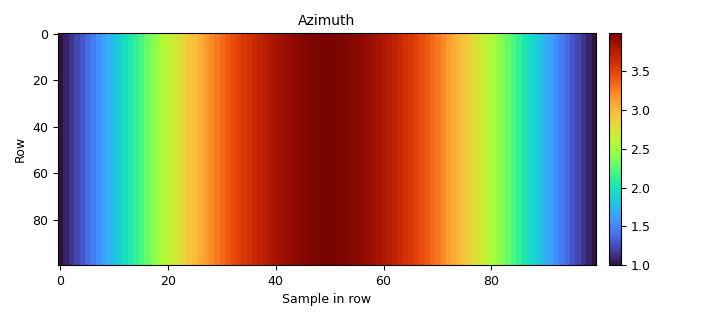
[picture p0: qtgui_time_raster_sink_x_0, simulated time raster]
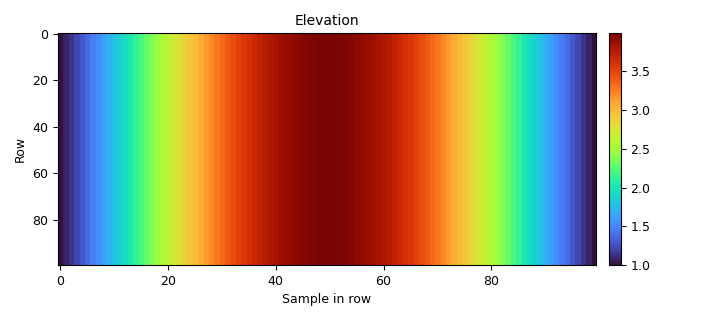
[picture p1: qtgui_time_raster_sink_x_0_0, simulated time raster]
options:
  parameters:
    author: citizenrich
    generate_options: qt_gui
    id: twodimension_simulation
    output_language: python
    realtime_scheduling: '1'
    title: twodimension_simulation
  states: {}

blocks:
- name: angle_radiansStartB
  id: variable
  parameters:
    value: (math.pi/180) * degreesTXB
  states: {}
- name: angle_radiansStartL
  id: variable
  parameters:
    value: (math.pi/180) * degreesTXL
  states: {}
- name: angle_radiansStartR
  id: variable
  parameters:
    value: (math.pi/180) * degreesTXR
  states: {}
- name: angle_radiansStartT
  id: variable
  parameters:
    value: (math.pi/180) * degreesTXT
  states: {}
- name: columns
  id: variable
  parameters:
    value: '100'
  states: {}
- name: degreesTXB
  id: variable_qtgui_range
  parameters:
    orient: Qt.Horizontal
    start: '0'
    step: '5'
    stop: maxtheta
    value: '0'
  states: {}
- name: degreesTXL
  id: variable_qtgui_range
  parameters:
    orient: Qt.Horizontal
    start: '0'
    step: '5'
    stop: maxtheta
    value: '0'
  states: {}
- name: degreesTXR
  id: variable_qtgui_range
  parameters:
    orient: Qt.Horizontal
    start: '0'
    step: '5'
    stop: maxtheta
    value: '0'
  states: {}
- name: degreesTXT
  id: variable_qtgui_range
  parameters:
    orient: Qt.Horizontal
    start: '0'
    step: '5'
    stop: maxtheta
    value: '0'
  states: {}
- name: displayscale
  id: variable
  parameters:
    value: '8'
  states: {}
- name: keep
  id: variable
  parameters:
    value: '32'
  states: {}
- name: left
  id: variable
  parameters:
    value: np.pad(shiftarrL, (0, int(columns/2)), 'constant')
  states: {}
- name: maxtheta
  id: variable
  parameters:
    value: '120'
  states: {}
- name: right
  id: variable
  parameters:
    value: np.flip(left, axis=0)
  states: {}
- name: samp_rate
  id: variable
  parameters:
    value: '32000'
  states: {}
- name: scale
  id: variable_qtgui_range
  parameters:
    orient: Qt.Horizontal
    start: '0'
    step: '5'
    stop: '100'
    value: '15'
  states: {}
- name: shiftarrL
  id: variable
  parameters:
    value: np.radians(np.linspace(start=maxtheta, stop=0, num=int(columns/2), endpoint=False))
  states: {}
- name: variable_qtgui_label_0
  id: variable_qtgui_label
  parameters:
    gui_hint: tab@1
    label: Right
    type: raw
    value: right
  states: {}
- name: variable_qtgui_label_0_0
  id: variable_qtgui_label
  parameters:
    gui_hint: tab@1
    label: Left
    type: raw
    value: left
  states: {}
- name: analog_sig_source_x_0_0
  id: analog_sig_source_x
  parameters:
    amp: '1'
    freq: '400'
    offset: '0'
    phase: '0'
    samp_rate: samp_rate
    type: complex
    waveform: analog.GR_COS_WAVE
  states: {}
- name: blocks_add_xx_0
  id: blocks_add_xx
  parameters:
    type: complex
  states: {}
- name: blocks_add_xx_0_0
  id: blocks_add_xx
  parameters:
    type: complex
  states: {}
- name: blocks_add_xx_1
  id: blocks_add_xx
  parameters:
    type: complex
  states: {}
- name: blocks_complex_to_mag_squared_0
  id: blocks_complex_to_mag_squared
  parameters: {}
  states: {}
- name: blocks_complex_to_mag_squared_0_0
  id: blocks_complex_to_mag_squared
  parameters: {}
  states: {}
- name: blocks_complex_to_mag_squared_0_1_0
  id: blocks_complex_to_mag_squared
  parameters: {}
  states: {}
- name: blocks_complex_to_magphase_0_0_0
  id: blocks_complex_to_magphase
  parameters: {}
  states: {}
- name: blocks_complex_to_magphase_0_0_0_0
  id: blocks_complex_to_magphase
  parameters: {}
  states: {}
- name: blocks_complex_to_magphase_0_0_0_0_0
  id: blocks_complex_to_magphase
  parameters: {}
  states: {}
- name: blocks_complex_to_magphase_0_0_0_1
  id: blocks_complex_to_magphase
  parameters: {}
  states: {}
- name: blocks_float_to_short_0_1_0
  id: blocks_float_to_short
  parameters:
    scale: scale
  states: {}
- name: blocks_keep_one_in_n_0
  id: blocks_keep_one_in_n
  parameters:
    n: keep
    type: complex
  states: {}
- name: blocks_keep_one_in_n_0_0
  id: blocks_keep_one_in_n
  parameters:
    n: keep
    type: complex
  states: {}
- name: blocks_keep_one_in_n_0_1
  id: blocks_keep_one_in_n
  parameters:
    n: keep
    type: complex
  states: {}
- name: blocks_keep_one_in_n_0_2
  id: blocks_keep_one_in_n
  parameters:
    n: keep
    type: complex
  states: {}
- name: blocks_magphase_to_complex_0_0_0_0
  id: blocks_magphase_to_complex
  parameters: {}
  states: {}
- name: blocks_magphase_to_complex_0_0_0_0_0
  id: blocks_magphase_to_complex
  parameters: {}
  states: {}
- name: blocks_magphase_to_complex_0_0_0_0_0_0
  id: blocks_magphase_to_complex
  parameters: {}
  states: {}
- name: blocks_magphase_to_complex_0_0_0_0_1
  id: blocks_magphase_to_complex
  parameters: {}
  states: {}
- name: blocks_multiply_const_vxx_0_0_0_0
  id: blocks_multiply_const_vxx
  parameters:
    comment: left channel - simulate tx phase diff
    const: complex(math.cos(angle_radiansStartL),math.sin(angle_radiansStartL))
    type: complex
  states: {}
- name: blocks_multiply_const_vxx_0_0_0_0_0
  id: blocks_multiply_const_vxx
  parameters:
    comment: bottom channel - simulate tx phase diff
    const: complex(math.cos(angle_radiansStartB),math.sin(angle_radiansStartB))
    type: complex
  states: {}
- name: blocks_multiply_const_vxx_0_0_1
  id: blocks_multiply_const_vxx
  parameters:
    comment: right channel - simulate tx phase diff
    const: complex(math.cos(angle_radiansStartR),math.sin(angle_radiansStartR))
    type: complex
  states: {}
- name: blocks_multiply_const_vxx_0_0_1_0
  id: blocks_multiply_const_vxx
  parameters:
    comment: top channel - simulate tx phase diff
    const: complex(math.cos(angle_radiansStartT),math.sin(angle_radiansStartT))
    type: complex
  states: {}
- name: blocks_repeat_0
  id: blocks_repeat
  parameters:
    interp: columns
    type: complex
  states: {}
- name: blocks_repeat_0_0
  id: blocks_repeat
  parameters:
    interp: columns
    type: complex
    vlen: columns
  states: {}
- name: blocks_repeat_0_0_0_0
  id: blocks_repeat
  parameters:
    interp: columns
    type: float
  states: {}
- name: blocks_repeat_0_0_0_0_0
  id: blocks_repeat
  parameters:
    interp: columns
    type: float
  states: {}
- name: blocks_repeat_0_0_0_0_0_0
  id: blocks_repeat
  parameters:
    interp: columns
    type: float
  states: {}
- name: blocks_repeat_0_0_0_0_0_1
  id: blocks_repeat
  parameters:
    interp: columns
    type: float
  states: {}
- name: blocks_repeat_0_0_0_0_0_1_0
  id: blocks_repeat
  parameters:
    interp: columns
    type: float
  states: {}
- name: blocks_repeat_0_0_0_0_1
  id: blocks_repeat
  parameters:
    interp: columns
    type: float
  states: {}
- name: blocks_repeat_0_0_0_0_1_0
  id: blocks_repeat
  parameters:
    interp: columns
    type: float
  states: {}
- name: blocks_repeat_0_0_0_0_2
  id: blocks_repeat
  parameters:
    interp: columns
    type: float
  states: {}
- name: blocks_stream_to_vector_0
  id: blocks_stream_to_vector
  parameters:
    num_items: columns
    type: complex
  states: {}
- name: blocks_sub_xx_0_0
  id: blocks_sub_xx
  parameters:
    type: float
  states: {}
- name: blocks_sub_xx_0_0_0
  id: blocks_sub_xx
  parameters:
    type: float
  states: {}
- name: blocks_sub_xx_0_0_0_0
  id: blocks_sub_xx
  parameters:
    type: float
  states: {}
- name: blocks_sub_xx_0_0_1
  id: blocks_sub_xx
  parameters:
    type: float
  states: {}
- name: blocks_throttle_0
  id: blocks_throttle
  parameters:
    samples_per_second: samp_rate
    type: complex
  states: {}
- name: blocks_vector_source_x_0_0_0
  id: blocks_vector_source_x
  parameters:
    repeat: 'True'
    type: float
    vector: left
  states: {}
- name: blocks_vector_source_x_0_0_0_0
  id: blocks_vector_source_x
  parameters:
    repeat: 'True'
    type: float
    vector: right
  states: {}
- name: blocks_vector_source_x_0_0_0_0_0
  id: blocks_vector_source_x
  parameters:
    repeat: 'True'
    type: float
    vector: right
  states: {}
- name: blocks_vector_source_x_0_0_0_1
  id: blocks_vector_source_x
  parameters:
    repeat: 'True'
    type: float
    vector: left
  states: {}
- name: blocks_vector_to_stream_0
  id: blocks_vector_to_stream
  parameters:
    num_items: columns
    type: complex
  states: {}
- name: import_1
  id: import
  parameters:
    imports: import numpy as np
  states: {}
- name: import_1_0
  id: import
  parameters:
    imports: import math
  states: {}
- name: qtgui_time_raster_sink_x_0
  id: qtgui_time_raster_sink_x
  parameters:
    color1: '1'
    gui_hint: tab@0
    name: '"Azimuth"'
    ncols: columns
    nrows: columns
    samp_rate: samp_rate/keep
    type: float
    update_time: '0.01'
    zmax: '5'
    zmin: '0'
  states: {}
- name: qtgui_time_raster_sink_x_0_0
  id: qtgui_time_raster_sink_x
  parameters:
    color1: '1'
    gui_hint: tab@0
    name: '"Elevation"'
    ncols: columns
    nrows: columns
    samp_rate: samp_rate/keep
    type: float
    update_time: '0.01'
    zmax: '5'
    zmin: '0'
  states: {}
- name: tab
  id: qtgui_tab_widget
  parameters:
    label0: Time rasters
    label1: Steering vectors
    num_tabs: '2'
  states: {}
- name: video_sdl_sink_1_1_0
  id: video_sdl_sink
  parameters:
    display_height: columns*displayscale
    display_width: columns*displayscale
    fps: '0'
    height: columns
    type: short
    width: columns
  states: {}

connections:
- [analog_sig_source_x_0_0, '0', blocks_throttle_0, '0']
- [blocks_add_xx_0, '0', blocks_complex_to_mag_squared_0, '0']
- [blocks_add_xx_0, '0', blocks_stream_to_vector_0, '0']
- [blocks_add_xx_0_0, '0', blocks_complex_to_mag_squared_0_0, '0']
- [blocks_add_xx_0_0, '0', blocks_repeat_0, '0']
- [blocks_add_xx_1, '0', blocks_complex_to_mag_squared_0_1_0, '0']
- [blocks_complex_to_mag_squared_0, '0', qtgui_time_raster_sink_x_0, '0']
- [blocks_complex_to_mag_squared_0_0, '0', qtgui_time_raster_sink_x_0_0, '0']
- [blocks_complex_to_mag_squared_0_1_0, '0', blocks_float_to_short_0_1_0, '0']
- [blocks_complex_to_magphase_0_0_0, '0', blocks_repeat_0_0_0_0, '0']
- [blocks_complex_to_magphase_0_0_0, '1', blocks_repeat_0_0_0_0_0, '0']
- [blocks_complex_to_magphase_0_0_0_0, '0', blocks_repeat_0_0_0_0_1, '0']
- [blocks_complex_to_magphase_0_0_0_0, '1', blocks_repeat_0_0_0_0_0_1, '0']
- [blocks_complex_to_magphase_0_0_0_0_0, '0', blocks_repeat_0_0_0_0_1_0, '0']
- [blocks_complex_to_magphase_0_0_0_0_0, '1', blocks_repeat_0_0_0_0_0_1_0, '0']
- [blocks_complex_to_magphase_0_0_0_1, '0', blocks_repeat_0_0_0_0_2, '0']
- [blocks_complex_to_magphase_0_0_0_1, '1', blocks_repeat_0_0_0_0_0_0, '0']
- [blocks_float_to_short_0_1_0, '0', video_sdl_sink_1_1_0, '0']
- [blocks_keep_one_in_n_0, '0', blocks_multiply_const_vxx_0_0_1, '0']
- [blocks_keep_one_in_n_0_0, '0', blocks_multiply_const_vxx_0_0_0_0, '0']
- [blocks_keep_one_in_n_0_1, '0', blocks_multiply_const_vxx_0_0_1_0, '0']
- [blocks_keep_one_in_n_0_2, '0', blocks_multiply_const_vxx_0_0_0_0_0, '0']
- [blocks_magphase_to_complex_0_0_0_0, '0', blocks_add_xx_0, '0']
- [blocks_magphase_to_complex_0_0_0_0_0, '0', blocks_add_xx_0, '1']
- [blocks_magphase_to_complex_0_0_0_0_0_0, '0', blocks_add_xx_0_0, '1']
- [blocks_magphase_to_complex_0_0_0_0_1, '0', blocks_add_xx_0_0, '0']
- [blocks_multiply_const_vxx_0_0_0_0, '0', blocks_complex_to_magphase_0_0_0_0, '0']
- [blocks_multiply_const_vxx_0_0_0_0_0, '0', blocks_complex_to_magphase_0_0_0_0_0, '0']
- [blocks_multiply_const_vxx_0_0_1, '0', blocks_complex_to_magphase_0_0_0, '0']
- [blocks_multiply_const_vxx_0_0_1_0, '0', blocks_complex_to_magphase_0_0_0_1, '0']
- [blocks_repeat_0, '0', blocks_add_xx_1, '1']
- [blocks_repeat_0_0, '0', blocks_vector_to_stream_0, '0']
- [blocks_repeat_0_0_0_0, '0', blocks_magphase_to_complex_0_0_0_0, '0']
- [blocks_repeat_0_0_0_0_0, '0', blocks_sub_xx_0_0, '0']
- [blocks_repeat_0_0_0_0_0_0, '0', blocks_sub_xx_0_0_1, '0']
- [blocks_repeat_0_0_0_0_0_1, '0', blocks_sub_xx_0_0_0, '0']
- [blocks_repeat_0_0_0_0_0_1_0, '0', blocks_sub_xx_0_0_0_0, '0']
- [blocks_repeat_0_0_0_0_1, '0', blocks_magphase_to_complex_0_0_0_0_0, '0']
- [blocks_repeat_0_0_0_0_1_0, '0', blocks_magphase_to_complex_0_0_0_0_0_0, '0']
- [blocks_repeat_0_0_0_0_2, '0', blocks_magphase_to_complex_0_0_0_0_1, '0']
- [blocks_stream_to_vector_0, '0', blocks_repeat_0_0, '0']
- [blocks_sub_xx_0_0, '0', blocks_magphase_to_complex_0_0_0_0, '1']
- [blocks_sub_xx_0_0_0, '0', blocks_magphase_to_complex_0_0_0_0_0, '1']
- [blocks_sub_xx_0_0_0_0, '0', blocks_magphase_to_complex_0_0_0_0_0_0, '1']
- [blocks_sub_xx_0_0_1, '0', blocks_magphase_to_complex_0_0_0_0_1, '1']
- [blocks_throttle_0, '0', blocks_keep_one_in_n_0, '0']
- [blocks_throttle_0, '0', blocks_keep_one_in_n_0_0, '0']
- [blocks_throttle_0, '0', blocks_keep_one_in_n_0_1, '0']
- [blocks_throttle_0, '0', blocks_keep_one_in_n_0_2, '0']
- [blocks_vector_source_x_0_0_0, '0', blocks_sub_xx_0_0, '1']
- [blocks_vector_source_x_0_0_0_0, '0', blocks_sub_xx_0_0_0, '1']
- [blocks_vector_source_x_0_0_0_0_0, '0', blocks_sub_xx_0_0_0_0, '1']
- [blocks_vector_source_x_0_0_0_1, '0', blocks_sub_xx_0_0_1, '1']
- [blocks_vector_to_stream_0, '0', blocks_add_xx_1, '0']

metadata:
  file_format: 1
